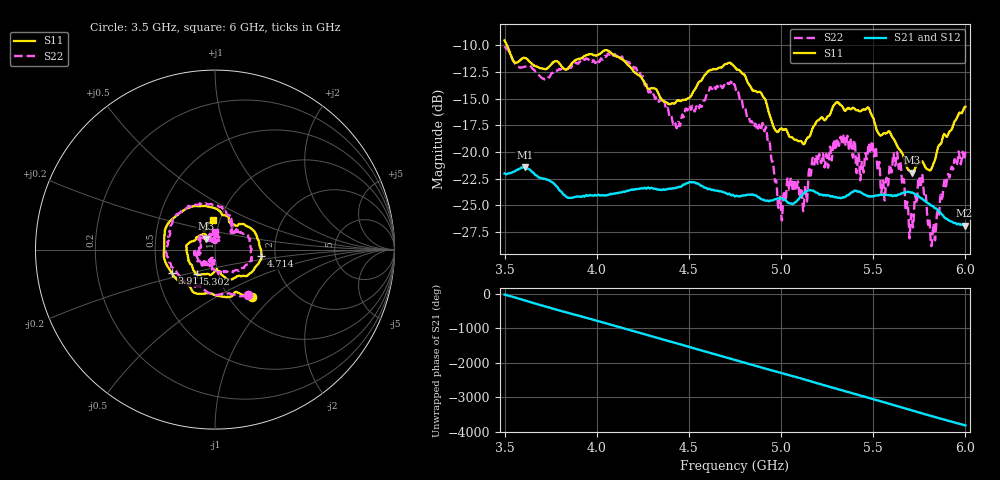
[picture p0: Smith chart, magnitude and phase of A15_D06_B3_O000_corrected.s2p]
! Created with skrf 1.9.0 (http://scikit-rf.org).
# Hz S RI R 50.0
!freq ReS11 ImS11 ReS21 ImS21 ReS12 ImS12 ReS22 ImS22
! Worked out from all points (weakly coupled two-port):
!   1601 points, 3.5 GHz to 6 GHz, reference 50 ohm
!   highest |S21| = -21.42 dB at 3.609 GHz (marker M1); lowest = -26.9 dB at 5.995 GHz (marker M2)
!   lowest |S11| = -21.9 dB at 5.713 GHz (marker M3), VSWR 1.17, Z = 44.8 + j5.51 ohm
!   |S11| at or under -10 dB: 3.513 GHz to end of sweep
!   |S22| runs from -28.8 to -10.1 dB; largest |S21 - S12| = 0.00094
!   S11 on the Smith chart (normalised r, x): 3.5 GHz: 1.27, -0.75; 3.911 GHz: 0.59, -0.17; 4.714 GHz: 1.69, -0.13; 5.302 GHz: 0.79, -0.22; 6 GHz: 0.93, +0.31
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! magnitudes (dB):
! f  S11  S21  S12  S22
! 3.5 GHz  -9.5  -22.0  -22.0  -10.1
! 3.609 GHz  -11.2  -21.4  -21.4  -12.0
! 3.911 GHz  -11.2  -24.2  -24.1  -11.6
! 3.917 GHz  -11.2  -24.2  -24.2  -11.6
! 4.127 GHz  -11.2  -23.8  -23.7  -11.2
! 4.334 GHz  -14.5  -23.5  -23.5  -15.2
! 4.442 GHz  -15.1  -23.3  -23.2  -17.2
! 4.714 GHz  -11.6  -23.9  -23.9  -13.6
! 4.75 GHz  -12.1  -24.2  -24.1  -13.8
! 4.911 GHz  -15.0  -24.5  -24.4  -18.0
! 4.995 GHz  -17.8  -24.3  -24.3  -24.2
! 5.045 GHz  -18.6  -24.8  -24.8  -23.5
! 5.13 GHz  -19.1  -23.8  -23.8  -23.4
! 5.167 GHz  -17.9  -23.6  -23.5  -21.0
! 5.302 GHz  -15.3  -24.2  -24.2  -18.9
! 5.584 GHz  -18.1  -24.0  -24.0  -22.4
! 5.638 GHz  -19.7  -24.0  -23.9  -21.4
! 5.713 GHz  -21.9  -23.8  -23.7  -26.5
! 5.758 GHz  -20.9  -24.3  -24.2  -23.2
! 5.825 GHz  -21.2  -25.1  -25.0  -26.9
! 5.995 GHz  -15.8  -26.9  -26.8  -20.6
! 6 GHz  -15.8  -26.9  -26.8  -19.9
